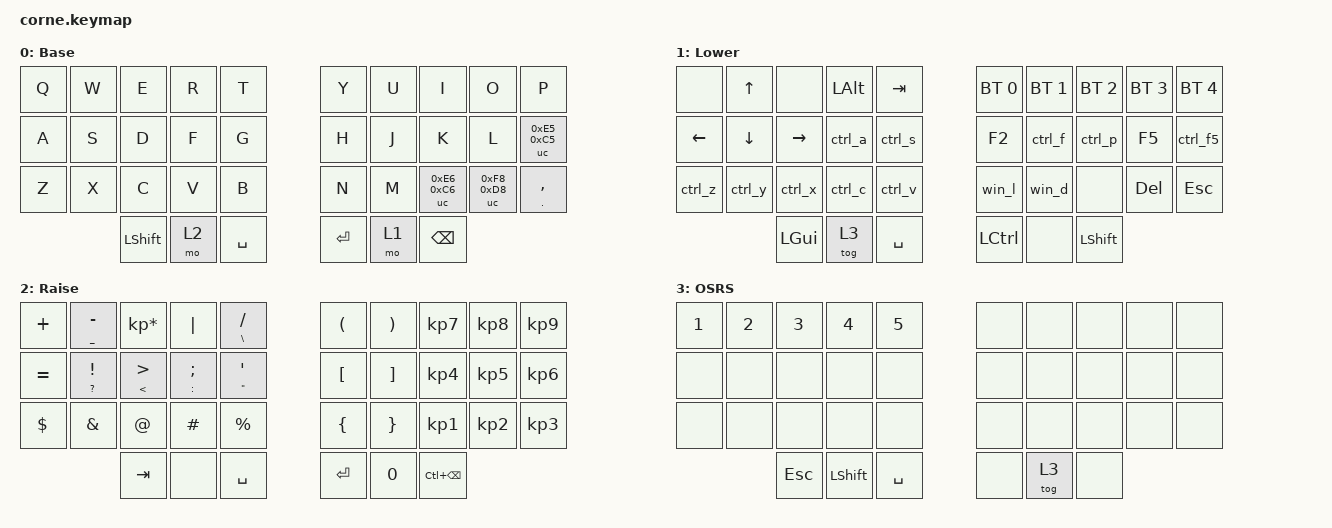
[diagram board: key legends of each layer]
/*
 * Copyright (c) 2020 The ZMK Contributors
 *
 * SPDX-License-Identifier: MIT
 */

#include <behaviors.dtsi>
#include <dt-bindings/zmk/keys.h>
#include <dt-bindings/zmk/bt.h>
#include <behaviors/unicode.dtsi>

&uc {
  default-mode = <UC_MODE_WIN_COMPOSE>;  // Replace with desired input system.
};

/ {
    chosen {
        zmk,physical-layout = &foostan_corne_5col_layout;
    };


    macros {
        key_dash: key_dash {
            compatible = "zmk,behavior-macro";
            #binding-cells = <0>;
            bindings = <&kp MINUS>;
        };

        key_underscore: key_underscore {
            compatible = "zmk,behavior-macro";
            #binding-cells = <0>;
            bindings = <&kp UNDERSCORE>;
        };
        ctrl_c: ctrl_c {
            label = "CtrlC";
            compatible = "zmk,behavior-macro";
            #binding-cells = <0>;
            bindings = <&kp LC(C)>;
        };
        ctrl_v: ctrl_v {
            label = "CtrlV";
            compatible = "zmk,behavior-macro";
            #binding-cells = <0>;
            bindings = <&kp LC(V)>;
        };
        ctrl_x: ctrl_x {
            label = "CtrlX";
            compatible = "zmk,behavior-macro";
            #binding-cells = <0>;
            bindings = <&kp LC(X)>;
        };
        ctrl_a: ctrl_a {
            label = "CtrlA";
            compatible = "zmk,behavior-macro";
            #binding-cells = <0>;
            bindings = <&kp LC(A)>;
        };
        ctrl_s: ctrl_s {
            label = "CtrlS";
            compatible = "zmk,behavior-macro";
            #binding-cells = <0>;
            bindings = <&kp LC(S)>;
        };
        win_d: win_d {
            label = "WinD";
            compatible = "zmk,behavior-macro";
            #binding-cells = <0>;
            bindings = <&kp LG(D)>;
        };
        win_l: win_l {
            label = "WinL";
            compatible = "zmk,behavior-macro";
            #binding-cells = <0>;
            bindings = <&kp LG(L)>;
        };
        ctrl_f5: ctrl_f5 {
            label = "CtrlF5";
            compatible = "zmk,behavior-macro";
            #binding-cells = <0>;
            bindings = <&kp LC(F5)>;
        };
        ctrl_p: ctrl_p {
            label = "CtrlP";
            compatible = "zmk,behavior-macro";
            #binding-cells = <0>;
            bindings = <&kp LC(P)>;
        };
        ctrl_f: ctrl_f {
            label = "CtrlF";
            compatible = "zmk,behavior-macro";
            #binding-cells = <0>;
            bindings = <&kp LC(F)>;
        };
        ctrl_z: ctrl_z {
            label = "CtrlZ";
            compatible = "zmk,behavior-macro";
            #binding-cells = <0>;
            bindings = <&kp LC(Z)>;
        };
        ctrl_y: ctrl_y {
            label = "CtrlY";
            compatible = "zmk,behavior-macro";
            #binding-cells = <0>;
            bindings = <&kp LC(Y)>;
        };
    };


     behaviors {

        ht: hold_tap {
            compatible = "zmk,behavior-hold-tap";
            #binding-cells = <2>;
            flavor = "tap-preferred";  
            tapping-term-ms = <200>;         
            bindings = <&kp>, <&kp>;
            display-name = "Hold-Tap";
        };
    };


        keymap {
                compatible = "zmk,keymap";

                default_layer {
// -----------------------------------------------------------------------------------------
//|  Q  |  W  |  E  |  R  |  T  |      |  Y  |  U  |  I  |  O  |  P   |
//|  A  |  S  |  D  |  F  |  G  |      |  H  |  J  |  K  |  L  |  å   |
//|  Z  |  X  |  C  |  V  |  B  |      |  N  |  M  |  æ  |  ø  |  ,   |
//         | Shift | L2 | Space |      | Enter | L1 | BSPC |

                        display-name = "Base";
                        bindings = <
 &kp Q  &kp W  &kp E      &kp R  &kp T        &kp Y    &kp U  &kp I          &kp O    &kp P         
 &kp A  &kp S  &kp D      &kp F  &kp G        &kp H    &kp J  &kp K          &kp L    &uc 0xE5 0xC5    
 &kp Z  &kp X  &kp C      &kp V  &kp B        &kp N    &kp M  &uc 0xE6 0xC6       &uc 0xF8 0xD8   &ht DOT COMMA
                     &kp LEFT_SHIFT  &mo 2  &kp SPACE    &kp RET  &mo 1  &kp BACKSPACE
                        >;  
                }; 


                lower_layer {
// -----------------------------------------------------------------------------------------
//| ___ |   ↑    |   ___    |   RAlt |  Tab   |      |  BT0  | BT1    |   BT2  |  BT3   |   BT4    |
//|  ←  |   ↓    |    →     |   ___  | Ctrl-S |      |  F2   | Ctrl-F | Ctrl-P |   F5   |  CTRL-F5 |
//| Del | Ctrl-A | Ctrl-X   | Ctrl-C | Ctrl-V |      | Win-L |  Win-D |  ___   |   ___  |   ESC    |
//                    | GUI |   TOG3 | Space  |      | LCTRL |  ___   |  Shift |

                        display-name = "Lower";
                        bindings = <
  &none       &kp UP     &none         &kp LALT   &kp TAB           &bt BT_SEL 0   &bt BT_SEL 1     &bt BT_SEL 2   &bt BT_SEL 3     &bt BT_SEL 4         
  &kp LEFT    &kp DOWN   &kp RIGHT     &ctrl_a      &ctrl_s           &kp F2         &ctrl_f          &ctrl_p        &kp F5           &ctrl_f5         
  &ctrl_z     &ctrl_y    &ctrl_x       &ctrl_c    &ctrl_v           &win_l         &win_d           &none          &kp DELETE       &kp ESC 
                         &kp LEFT_GUI  &tog 3     &kp SPACE         &kp LCTRL        &none            &kp LSHFT
                        >;
                };


                raise_layer {
// -----------------------------------------------------------------------------------------
//|  +  |  -  |  *  |  /  |  \  |      |  (  |  )  |  7  |  8  |  9  | 
//|  !  |  ?  |  |  |  '  |  "  |      |  [  |  ]  |  4  |  5  |  6  |
//|  =  |  &  |  @  |  #  |  %  |      |  {  |  }  |  1  |  2  |  3  |
//                  | TAB | ___ | SPACE | RET | 0  |CBSPC|

                        display-name = "Raise";
                        bindings = < 
  &kp PLUS         &ht UNDERSCORE MINUS     &kp KP_MULTIPLY    &kp PIPE        &ht BACKSLASH  SLASH            &kp LEFT_PARENTHESIS  &kp RIGHT_PARENTHESIS  &kp KP_NUMBER_7    &kp KP_NUMBER_8  &kp KP_NUMBER_9  
  &kp EQUAL  &ht QUESTION  EXCLAMATION   &ht LT GT            &ht COLON SEMICOLON  &ht DOUBLE_QUOTES  SINGLE_QUOTE        &kp LEFT_BRACKET      &kp RIGHT_BRACKET      &kp KP_NUMBER_4    &kp KP_NUMBER_5  &kp KP_NUMBER_6  
  &kp DOLLAR        &kp AMPERSAND            &kp AT_SIGN        &kp HASH          &kp PERCENT                &kp LEFT_BRACE        &kp RIGHT_BRACE        &kp KP_NUMBER_1    &kp KP_NUMBER_2  &kp KP_NUMBER_3  
                                            &kp TAB            &none             &kp SPACE                  &kp RET               &kp N0                 &kp LC(BACKSPACE)
                        >;
                };

                        OSRS {
            display-name = "OSRS";
            bindings = <
  &kp NUMBER_1  &kp NUMBER_2  &kp NUMBER_3  &kp NUMBER_4  &kp N5    &none  &none  &none  &none  &none  
  &none        &none        &none        &none        &none    &none  &none  &none  &none  &none 
 &none        &none        &none        &none        &none    &none  &none  &none  &none  &none  
                                    &kp ESC       &kp LSHIFT        &kp SPACE     &none  &tog 3  &none
                >;
                };

                extra_2 {
                        status = "reserved";
                };

                extra_3 {
                        status = "reserved";
                };
        };
};
